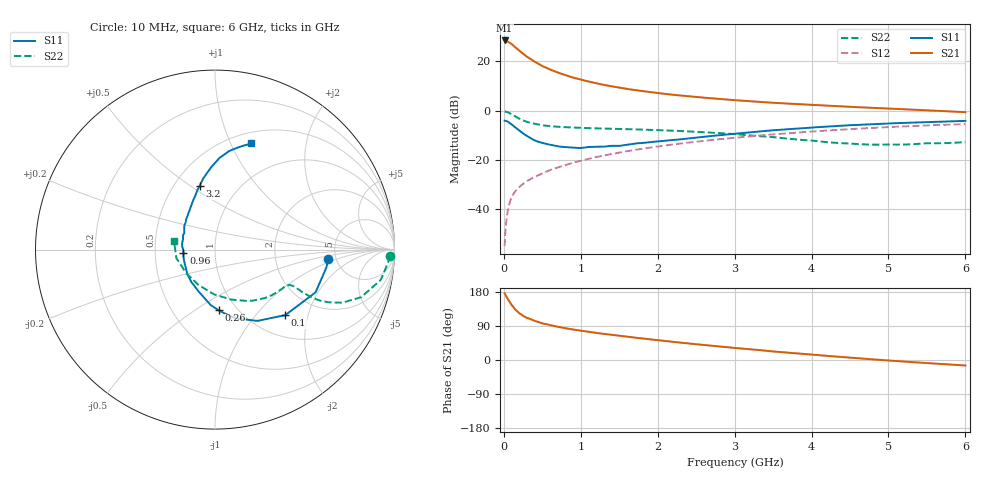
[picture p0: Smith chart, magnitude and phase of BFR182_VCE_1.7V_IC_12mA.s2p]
! Infineon Technologies  Discrete & RF Semiconductors
! BFR182
! VCE =  1.7 V,  IC =  12 mA
! Common Emitter S-Parameters:  Nov 2015
# GHz  S  MA  R  50
!  f  S11  S21  S12  S22
! GHz  MAG  ANG  MAG  ANG  MAG  ANG  MAG  ANG
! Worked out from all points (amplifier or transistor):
!   210 points, 10 MHz to 6 GHz, reference 50 ohm
!   highest |S21| = 28.5 dB at 10 MHz (marker M1)
!   |S21| within 3 dB of that: start of sweep to 158.3 MHz
!   unconditionally stable (mu >= 1): 669.8 MHz to 2.633 GHz
!   at 185 MHz: K = 0.58, MSG = 28.1 dB, |S12| = -31.4 dB
!   at 1.52 GHz: K = 1.06, MAG = 11.6 dB, |S12| = -16.8 dB
!   at 6 GHz: K = 0.90, MSG = 2.4 dB, |S12| = -5.4 dB
!   S11 on the Smith chart (normalised r, x): 10 MHz: 4.28, -0.78; 100 MHz: 1.42, -1.45; 260 MHz: 0.82, -0.63; 960 MHz: 0.70, -0.03; 3.2 GHz: 0.66, +0.55; 6 GHz: 0.62, +1.20
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0.01  0.6318 -5.0  26.71 176.1  0.0018 91.6  0.9738 -2.0
0.02  0.6287 -9.0  26.19 172.1  0.0036 84.0  0.9672 -4.3
0.05  0.609 -23.0  25.52 161.3  0.0092 81.1  0.939 -10.3
0.1  0.5354 -43.0  22.71 145.5  0.0177 72.9  0.8569 -18.0
0.15  0.462 -59.3  19.39 132.6  0.0236 68.7  0.7674 -22.7
0.2  0.3986 -73.5  16.68 123.5  0.0284 66.6  0.6944 -25.0
0.24  0.3559 -82.3  14.78 117.9  0.0321 66.0  0.6492 -25.9
0.26  0.3386 -86.6  13.96 115.4  0.0339 66.0  0.6298 -26.1
0.3  0.3096 -94.5  12.5 111.1  0.0375 66.4  0.5974 -26.3
0.4  0.2517 -110.9  9.902 103.2  0.0455 67.4  0.544 -26.0
0.5  0.2237 -126.0  8.096 96.7  0.0535 68.1  0.5091 -25.4
0.6  0.2061 -138.6  6.886 91.9  0.0627 69.0  0.4884 -25.0
0.7  0.1905 -149.2  5.985 87.6  0.0709 69.7  0.475 -25.1
0.96  0.1769 -173.8  4.456 78.6  0.0937 69.4  0.4539 -26.0
1.02  0.1775 -179.6  4.216 76.7  0.0989 69.4  0.45 -26.4
1.4  0.1952 155.7  3.132 66.6  0.1331 67.8  0.4329 -30.2
2.02  0.2407 129.9  2.272 51.9  0.1905 63.4  0.4056 -38.7
3.1  0.3542 105.2  1.605 30.1  0.2936 53.0  0.327 -60.5
3.2  0.366 103.5  1.565 28.4  0.3031 51.8  0.3172 -63.2
4.1  0.4682 91.6  1.297 12.5  0.3889 41.5  0.2397 -95.5
5.1  0.5617 80.7  1.095 -2.7  0.4761 28.9  0.2063 -146.6
6  0.625 71.1  0.94 -14.5  0.5362 16.4  0.2325 168.8
